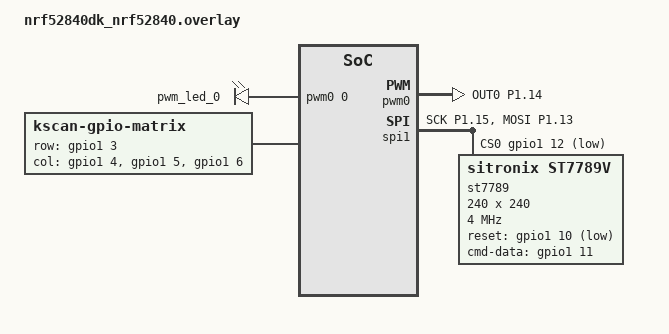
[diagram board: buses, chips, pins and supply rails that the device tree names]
/* nrf52840dk_nrf52840.overlay */
#include <dt-bindings/zmk/matrix_transform.h>
#include <dt-bindings/pinctrl/nrf-pinctrl.h>
#include <dt-bindings/pwm/pwm.h>

/ {
    chosen {
        zmk,kscan = &kscan0;
        zmk,matrix_transform = &default_transform;
        zmk,display = &st7789;
        zmk,backlight = &backlight;
        zephyr,display = &st7789;
    };

    backlight: pwmleds {
        compatible = "pwm-leds";
        pwm_led_0: pwm_led_0 {
            pwms = <&pwm0 0 PWM_MSEC(10) PWM_POLARITY_NORMAL>;
        };
    };

    default_transform: keymap_transform_0 {
        compatible = "zmk,matrix-transform";
        columns = <3>;
        rows = <1>;
        map = <RC(0,0) RC(0,1) RC(0,2)>;
    };

    kscan0: kscan_0 {
        compatible = "zmk,kscan-gpio-matrix";
        label = "KSCAN";
        diode-direction = "col2row";

        /* ROW: Pull-Down */
        row-gpios = <&gpio1 3 (GPIO_ACTIVE_HIGH | GPIO_PULL_DOWN)>;

        /* COLUMNS: Active High */
        col-gpios
            = <&gpio1 4 GPIO_ACTIVE_HIGH>
            , <&gpio1 5 GPIO_ACTIVE_HIGH>
            , <&gpio1 6 GPIO_ACTIVE_HIGH>;
    };
};

/* --- DISPLAY CONFIGURATION --- */

&pinctrl {
    spi1_default: spi1_default {
        group1 {
            psels = <NRF_PSEL(SPIM_SCK, 1, 15)>,  /* P1.15 = CLK */
                    <NRF_PSEL(SPIM_MOSI, 1, 13)>; /* P1.13 = SDA/MOSI */
        };
    };

    spi1_sleep: spi1_sleep {
        group1 {
            psels = <NRF_PSEL(SPIM_SCK, 1, 15)>,
                    <NRF_PSEL(SPIM_MOSI, 1, 13)>;
            low-power-enable;
        };
    };

    pwm0_default: pwm0_default {
        group1 {
            psels = <NRF_PSEL(PWM_OUT0, 1, 14)>;
        };
    };

    pwm0_sleep: pwm0_sleep {
        group1 {
            psels = <NRF_PSEL(PWM_OUT0, 1, 14)>;
            low-power-enable;
        };
    };
};

&pwm0 {
    status = "okay";
    pinctrl-0 = <&pwm0_default>;
    pinctrl-1 = <&pwm0_sleep>;
    pinctrl-names = "default", "sleep";
};

&spi1 {
    compatible = "nordic,nrf-spim";
    status = "okay";
    pinctrl-0 = <&spi1_default>;
    pinctrl-1 = <&spi1_sleep>;
    pinctrl-names = "default", "sleep";

    /* Chip Select (CS) on P1.12 */
    cs-gpios = <&gpio1 12 GPIO_ACTIVE_LOW>;

    st7789: st7789v@0 {
        compatible = "sitronix,st7789v";
        status = "okay";
        spi-max-frequency = <4000000>;
        reg = <0>;

        width = <240>;
        height = <240>;
        x-offset = <0>;
        y-offset = <0>;

        /* Reset and DC pins */
        reset-gpios = <&gpio1 10 GPIO_ACTIVE_LOW>;
        cmd-data-gpios = <&gpio1 11 GPIO_ACTIVE_HIGH>;

        /* --- ST7789V Init Sequence --- */
        /* These properties match the Zephyr binding requirements */

        gctrl = <0x35>;      /* Gate Control (Required) */
        vcom = <0x19>;       /* VCOM Voltage */
        vrhs = <0x12>;       /* VRH Set */
        lcm = <0x2c>;        /* LCM Control */
        mdac = <0x00>;       /* Memory Data Access Control (Rotation) */
        gamma = <0x01>;      /* Gamma Curve Select */
        colmod = <0x55>;     /* Color Mode (16-bit) */

        /* Advanced Parameters */
        porch-param = [0c 0c 00 33 33];
        cmd2en-param = [5a 69 02 01];
        pwctrl1-param = [a4 a1];
        pvgam-param = [D0 04 0D 11 13 2B 3F 54 4C 18 0D 0B 1F 23];
        nvgam-param = [D0 04 0C 11 13 2C 3F 44 51 2F 1F 1F 20 23];
        ram-param = [00 F0];
        rgb-param = [CD 08 14];
    };
};
